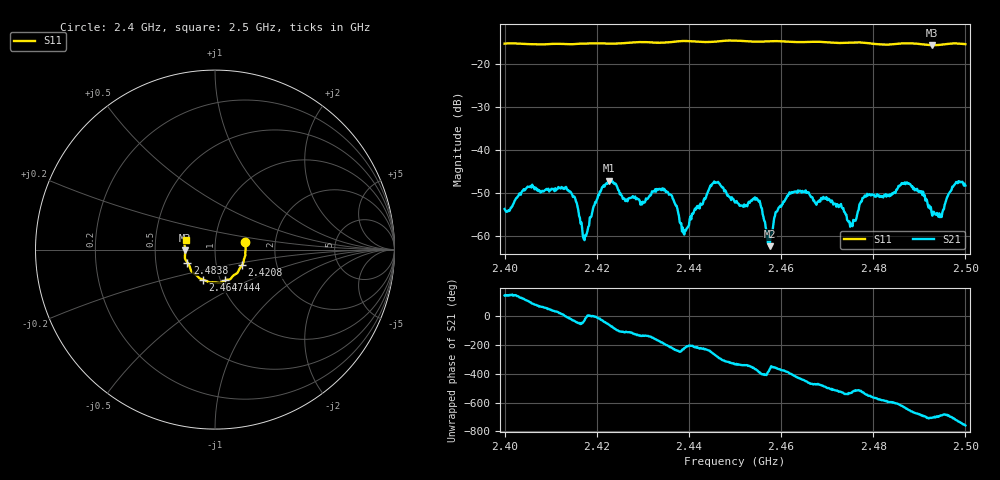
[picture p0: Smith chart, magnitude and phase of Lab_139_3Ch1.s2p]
# Hz S RI R 50
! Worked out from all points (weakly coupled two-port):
!   601 points, 2.4 GHz to 2.5 GHz, reference 50 ohm
!   highest |S21| = -47.11 dB at 2.4227 GHz (marker M1); lowest = -62.3 dB at 2.4575 GHz (marker M2)
!   lowest |S11| = -15.6 dB at 2.4928 GHz (marker M3), VSWR 1.40, Z = 35.8 - j0.352 ohm
!   |S11| at or under -10 dB: start of sweep to end of sweep
!   S12 and S22 are empty: the file has one direction only
!   S11 on the Smith chart (normalised r, x): 2.4 GHz: 1.40, +0.12; 2.4208 GHz: 1.33, -0.24; 2.444 GHz: 1.06, -0.37; 2.4647 GHz: 0.83, -0.29; 2.4838 GHz: 0.73, -0.11; 2.5 GHz: 0.72, +0.08
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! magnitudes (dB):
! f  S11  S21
! 2.4 GHz  -15.3  -53.7
! 2.4128 GHz  -15.3  -49.0
! 2.4167 GHz  -15.2  -56.8
! 2.4175 GHz  -15.2  -59.7
! 2.4208 GHz  -15.2  -49.6
! 2.4227 GHz  -15.2  -47.1
! 2.4333 GHz  -15.0  -49.0
! 2.439 GHz  -14.6  -59.6
! 2.444 GHz  -14.9  -50.0
! 2.45 GHz  -14.5  -52.2
! 2.4548 GHz  -14.8  -51.3
! 2.4575 GHz  -14.7  -62.3
! 2.4593 GHz  -14.7  -53.7
! 2.4647 GHz  -14.9  -49.5
! 2.4667 GHz  -14.8  -50.9
! 2.475 GHz  -15.0  -57.8
! 2.4782 GHz  -15.0  -50.5
! 2.4833 GHz  -15.5  -50.4
! 2.4838 GHz  -15.4  -50.5
! 2.4877 GHz  -15.2  -47.7
! 2.4928 GHz  -15.6  -55.2
! 2.5 GHz  -15.4  -48.2
